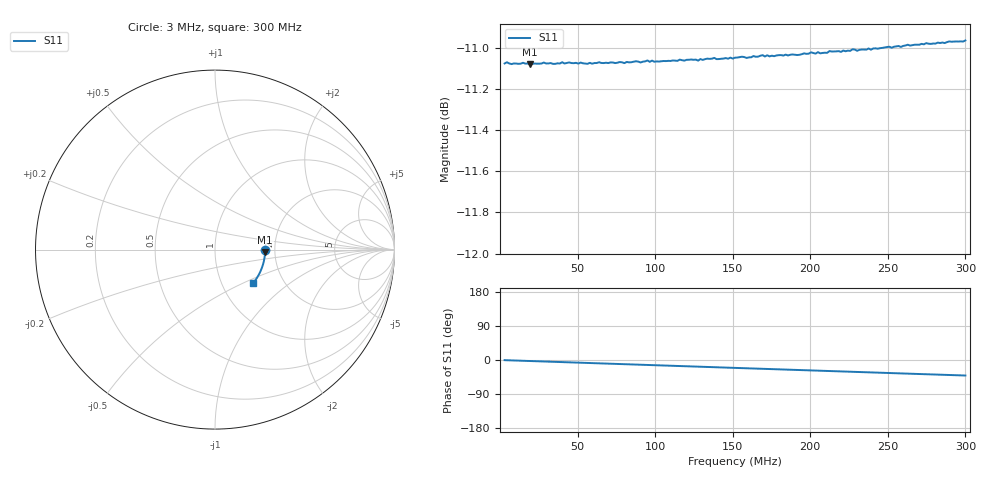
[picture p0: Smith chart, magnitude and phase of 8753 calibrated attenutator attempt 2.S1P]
! C:\data\NanoVNA\8753 calibrated attenutator attempt 2.S1P
! Touchstone 1.1 file saved by VNA.EXE V1.60 (www.ke5fx.com/gpib/readme.htm)
! 26/08/2019 9:01:45 p.m.
!  Source: HEWLETT PACKARD,8753C,0,4.12
!  Min freq: 3.000000E+006 Hz
!  Max freq: 3.000000E+008 Hz
!  Points: 201
!  Params: S11
# GHZ S MA R 50
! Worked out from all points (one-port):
!   201 points, 3 MHz to 300 MHz, reference 50 ohm
!   lowest |S11| = -11.1 dB at 19.34 MHz (marker M1), VSWR 1.77, Z = 88.6 - j2.49 ohm
!   |S11| at or under -10 dB: start of sweep to end of sweep
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0.003  0.2794 -0.4
0.004485  0.2796 -0.6
0.019335  0.2793 -2.7
0.040125  0.2796 -5.5
0.05646  0.2793 -7.8
0.07725  0.2796 -10.6
0.090615  0.2796 -12.5
0.09507  0.2799 -13.1
0.096555  0.2797 -13.3
0.114375  0.2798 -15.7
0.12774  0.2798 -17.6
0.138135  0.2803 -19.0
0.1515  0.2803 -20.8
0.158925  0.2803 -21.8
0.16932  0.2807 -23.3
0.173775  0.2805 -23.9
0.188625  0.2808 -25.9
0.200505  0.2812 -27.5
0.2109  0.2811 -28.9
0.212385  0.2813 -29.1
0.22575  0.2814 -30.9
0.227235  0.2816 -31.1
0.230205  0.2814 -31.5
0.23763  0.2818 -32.5
0.239115  0.2816 -32.7
0.25842  0.282 -35.4
0.262875  0.2823 -35.9
0.3  0.283 -40.9
